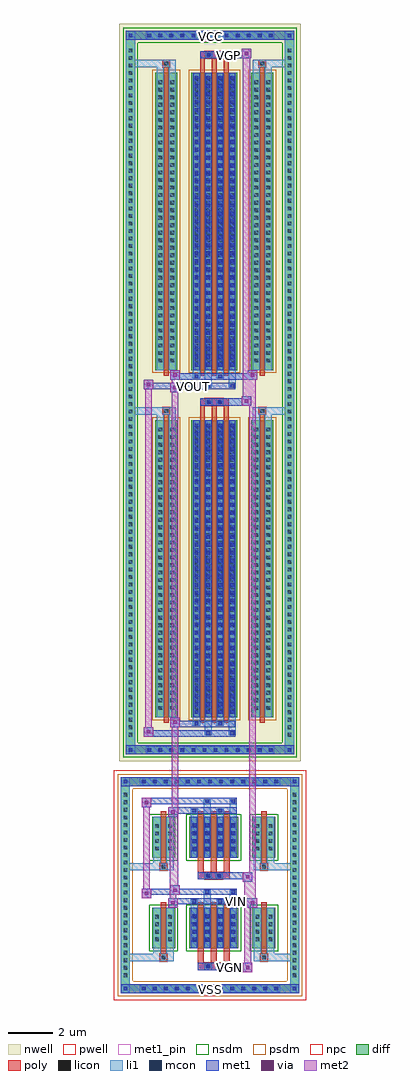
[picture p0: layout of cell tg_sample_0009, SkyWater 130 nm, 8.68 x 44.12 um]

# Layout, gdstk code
import gdstk
lib = gdstk.Library(unit=1e-6, precision=5e-09)
def R(c, l, rs):  # rectangles x0, y0, x1, y1
    for r in rs: c.add(gdstk.rectangle(r[:2], r[2:], *l))
def A(c, l, x, y, w, h, nx, ny, dx, dy):  # array of equal rectangles
    R(c, l, [(x+i*dx, y+j*dy, x+i*dx+w, y+j*dy+h) for i in range(nx) for j in range(ny)])
def P(c, l, *ps):  # polygons
    for p in ps: c.add(gdstk.Polygon(p, *l))
nwell = (64, 20)
pwell = (64, 44)
diff = (65, 20)
poly = (66, 20)
licon = (66, 44)
li1 = (67, 20)
mcon = (67, 44)
met1_pin = (68, 16)
met1 = (68, 20)
via = (68, 44)
met2 = (69, 20)
nsdm = (93, 44)
psdm = (94, 20)
npc = (95, 20)

tg_sample_0009 = lib.new_cell('tg_sample_0009')
R(tg_sample_0009, nwell, [(-4.11,5.595,4.11,38.925)])
R(tg_sample_0009, pwell, [(-4.34,-5.195,4.34,5.195)])
A(tg_sample_0009, diff, -3.205, -4.885, 0.41, 0.41, 13, 2, 0.5, 9.36)
A(tg_sample_0009, diff, -4.03, -4.285, 0.41, 0.41, 1, 25, 0, 0.34)
A(tg_sample_0009, diff, 3.62, -4.285, 0.41, 0.41, 1, 25, 0, 0.34)
A(tg_sample_0009, diff, -2.955, 5.905, 0.41, 0.41, 12, 2, 0.5, 32.3)
A(tg_sample_0009, diff, -3.8, 6.585, 0.41, 0.41, 1, 92, 0, 0.34)
A(tg_sample_0009, diff, 3.39, 6.585, 0.41, 0.41, 1, 92, 0, 0.34)
R(tg_sample_0009, diff, [(-3.205,-4.885,3.205,-4.475), (-4.03,-4.285,-3.62,4.285), (3.62,-4.285,4.03,4.285), (-2.62,-2.86,-1.58,-1.02), (-0.94,-2.86,1.28,-1.02), (1.92,-2.86,2.96,-1.02), (-2.62,1.24,-1.58,3.08), (-0.94,1.24,1.28,3.08), (1.92,1.24,2.96,3.08), (-3.205,4.475,3.205,4.885), (-2.955,5.905,2.955,6.315), (-3.8,6.585,-3.39,37.935), (3.39,6.585,3.8,37.935), (-2.47,7.58,-1.48,21.02), (-0.84,7.58,1.23,21.02), (1.87,7.58,2.86,21.02), (-2.47,23.28,-1.48,36.72), (-0.84,23.28,1.23,36.72), (1.87,23.28,2.86,36.72), (-2.955,38.205,2.955,38.615)])
P(tg_sample_0009, diff, [(4.03,4.885),(-4.03,4.885),(-4.03,-4.475),(-3.62,-4.475),(-3.62,4.475),(3.62,4.475),(3.62,-4.475),(-3.62,-4.475),(-4.03,-4.475),(-4.03,-4.885),(4.03,-4.885)],
  [(3.8,5.905),(-3.8,5.905),(-3.8,38.205),(-3.39,38.205),(-3.39,6.315),(3.39,6.315),(3.39,38.205),(-3.39,38.205),(-3.8,38.205),(-3.8,38.615),(3.8,38.615)])
A(tg_sample_0009, poly, -0.55, -3.51, 0.26, 0.4, 3, 2, 0.59, 4.1)
A(tg_sample_0009, poly, -0.55, -3.11, 0.26, 2.34, 3, 2, 0.59, 4.1)
A(tg_sample_0009, poly, -0.45, 7.33, 0.21, 13.94, 3, 2, 0.54, 15.7)
A(tg_sample_0009, poly, -0.45, 21.27, 0.21, 0.4, 3, 2, 0.54, 15.7)
R(tg_sample_0009, poly, [(-0.55,-3.84,0.89,-3.51), (-0.245,-3.84,0.085,-3.51), (0.255,-3.84,0.585,-3.51), (-2.265,-3.44,-1.935,-3.11), (-2.265,-3.44,-1.935,-3.11), (2.275,-3.44,2.605,-3.11), (2.275,-3.44,2.605,-3.11), (-2.23,-3.11,-1.97,-0.77), (2.31,-3.11,2.57,-0.77), (-0.55,0.26,0.89,0.59), (-0.245,0.26,0.085,0.59), (0.255,0.26,0.585,0.59), (-2.265,0.66,-1.935,0.99), (-2.265,0.66,-1.935,0.99), (2.275,0.66,2.605,0.99), (2.275,0.66,2.605,0.99), (-2.23,0.99,-1.97,3.33), (2.31,0.99,2.57,3.33), (-2.08,7.33,-1.87,21.27), (2.26,7.33,2.47,21.27), (-2.14,21.27,-1.81,21.6), (-2.14,21.27,-1.81,21.6), (2.2,21.27,2.53,21.6), (2.2,21.27,2.53,21.6), (-0.45,21.67,0.84,22), (-0.22,21.67,0.11,22), (0.28,21.67,0.61,22), (-2.08,23.03,-1.87,36.97), (2.26,23.03,2.47,36.97), (-2.14,36.97,-1.81,37.3), (-2.14,36.97,-1.81,37.3), (2.2,36.97,2.53,37.3), (2.2,36.97,2.53,37.3), (-0.45,37.37,0.84,37.7), (-0.22,37.37,0.11,37.7), (0.28,37.37,0.61,37.7)])
A(tg_sample_0009, licon, -3.085, -4.765, 0.17, 0.17, 13, 2, 0.5, 9.36)
A(tg_sample_0009, licon, -3.91, -4.165, 0.17, 0.17, 1, 25, 0, 0.34)
A(tg_sample_0009, licon, 3.74, -4.165, 0.17, 0.17, 1, 25, 0, 0.34)
A(tg_sample_0009, licon, -2.48, -2.535, 0.17, 0.17, 1, 4, 0, 0.34)
A(tg_sample_0009, licon, -1.89, -2.535, 0.17, 0.17, 1, 4, 0, 0.34)
A(tg_sample_0009, licon, -0.8, -2.535, 0.17, 0.17, 4, 4, 0.59, 0.34)
A(tg_sample_0009, licon, 2.06, -2.535, 0.17, 0.17, 1, 4, 0, 0.34)
A(tg_sample_0009, licon, 2.65, -2.535, 0.17, 0.17, 1, 4, 0, 0.34)
A(tg_sample_0009, licon, -2.48, 1.565, 0.17, 0.17, 1, 4, 0, 0.34)
A(tg_sample_0009, licon, -1.89, 1.565, 0.17, 0.17, 1, 4, 0, 0.34)
A(tg_sample_0009, licon, -0.8, 1.565, 0.17, 0.17, 4, 4, 0.59, 0.34)
A(tg_sample_0009, licon, 2.06, 1.565, 0.17, 0.17, 1, 4, 0, 0.34)
A(tg_sample_0009, licon, 2.65, 1.565, 0.17, 0.17, 1, 4, 0, 0.34)
A(tg_sample_0009, licon, -2.835, 6.025, 0.17, 0.17, 12, 2, 0.5, 32.3)
A(tg_sample_0009, licon, -3.68, 6.705, 0.17, 0.17, 1, 92, 0, 0.34)
A(tg_sample_0009, licon, 3.51, 6.705, 0.17, 0.17, 1, 92, 0, 0.34)
A(tg_sample_0009, licon, -2.33, 7.925, 0.17, 0.17, 1, 38, 0, 0.34)
A(tg_sample_0009, licon, -1.79, 7.925, 0.17, 0.17, 1, 38, 0, 0.34)
A(tg_sample_0009, licon, -0.7, 7.925, 0.17, 0.17, 4, 38, 0.54, 0.34)
A(tg_sample_0009, licon, 2.01, 7.925, 0.17, 0.17, 1, 38, 0, 0.34)
A(tg_sample_0009, licon, 2.55, 7.925, 0.17, 0.17, 1, 38, 0, 0.34)
A(tg_sample_0009, licon, -2.33, 23.625, 0.17, 0.17, 1, 38, 0, 0.34)
A(tg_sample_0009, licon, -1.79, 23.625, 0.17, 0.17, 1, 38, 0, 0.34)
A(tg_sample_0009, licon, -0.7, 23.625, 0.17, 0.17, 4, 38, 0.54, 0.34)
A(tg_sample_0009, licon, 2.01, 23.625, 0.17, 0.17, 1, 38, 0, 0.34)
A(tg_sample_0009, licon, 2.55, 23.625, 0.17, 0.17, 1, 38, 0, 0.34)
R(tg_sample_0009, licon, [(-0.165,-3.76,0.005,-3.59), (0.335,-3.76,0.505,-3.59), (-2.185,-3.36,-2.015,-3.19), (2.355,-3.36,2.525,-3.19), (-0.165,0.34,0.005,0.51), (0.335,0.34,0.505,0.51), (-2.185,0.74,-2.015,0.91), (2.355,0.74,2.525,0.91), (-2.06,21.35,-1.89,21.52), (2.28,21.35,2.45,21.52), (-0.14,21.75,0.03,21.92), (0.36,21.75,0.53,21.92), (-2.06,37.05,-1.89,37.22), (2.28,37.05,2.45,37.22), (-0.14,37.45,0.03,37.62), (0.36,37.45,0.53,37.62)])
A(tg_sample_0009, li1, -3.165, -4.845, 0.33, 0.33, 13, 2, 0.5, 9.36)
A(tg_sample_0009, li1, -3.99, -4.245, 0.33, 0.33, 1, 25, 0, 0.34)
A(tg_sample_0009, li1, 3.66, -4.245, 0.33, 0.33, 1, 25, 0, 0.34)
A(tg_sample_0009, li1, -0.88, -2.86, 0.33, 1.84, 4, 2, 0.59, 4.1)
A(tg_sample_0009, li1, -2.56, -2.615, 0.33, 0.33, 1, 4, 0, 0.34)
A(tg_sample_0009, li1, -1.97, -2.615, 0.33, 0.33, 1, 4, 0, 0.34)
A(tg_sample_0009, li1, -0.88, -2.615, 0.33, 0.33, 4, 4, 0.59, 0.34)
A(tg_sample_0009, li1, 1.98, -2.615, 0.33, 0.33, 1, 4, 0, 0.34)
A(tg_sample_0009, li1, 2.57, -2.615, 0.33, 0.33, 1, 4, 0, 0.34)
A(tg_sample_0009, li1, -0.8, -2.565, 0.17, 0.17, 4, 4, 0.59, 0.36)
A(tg_sample_0009, li1, -0.8, -2.565, 0.17, 1.25, 4, 2, 0.59, 4.1)
A(tg_sample_0009, li1, -2.56, 1.485, 0.33, 0.33, 1, 4, 0, 0.34)
A(tg_sample_0009, li1, -1.97, 1.485, 0.33, 0.33, 1, 4, 0, 0.34)
A(tg_sample_0009, li1, -0.88, 1.485, 0.33, 0.33, 4, 4, 0.59, 0.34)
A(tg_sample_0009, li1, 1.98, 1.485, 0.33, 0.33, 1, 4, 0, 0.34)
A(tg_sample_0009, li1, 2.57, 1.485, 0.33, 0.33, 1, 4, 0, 0.34)
A(tg_sample_0009, li1, -0.8, 1.535, 0.17, 0.17, 4, 4, 0.59, 0.36)
A(tg_sample_0009, li1, -2.915, 5.945, 0.33, 0.33, 12, 2, 0.5, 32.3)
A(tg_sample_0009, li1, -3.76, 6.625, 0.33, 0.33, 1, 92, 0, 0.34)
A(tg_sample_0009, li1, 3.43, 6.625, 0.33, 0.33, 1, 92, 0, 0.34)
A(tg_sample_0009, li1, -0.78, 7.58, 0.33, 13.44, 4, 2, 0.54, 15.7)
A(tg_sample_0009, li1, -0.7, 7.735, 0.17, 0.17, 4, 37, 0.54, 0.36)
A(tg_sample_0009, li1, -0.7, 7.735, 0.17, 13.13, 4, 2, 0.54, 15.7)
A(tg_sample_0009, li1, -2.41, 7.845, 0.33, 0.33, 1, 38, 0, 0.34)
A(tg_sample_0009, li1, -1.87, 7.845, 0.33, 0.33, 1, 38, 0, 0.34)
A(tg_sample_0009, li1, -0.78, 7.845, 0.33, 0.33, 4, 38, 0.54, 0.34)
A(tg_sample_0009, li1, 1.93, 7.845, 0.33, 0.33, 1, 38, 0, 0.34)
A(tg_sample_0009, li1, 2.47, 7.845, 0.33, 0.33, 1, 38, 0, 0.34)
A(tg_sample_0009, li1, -0.7, 23.435, 0.17, 0.17, 4, 37, 0.54, 0.36)
A(tg_sample_0009, li1, -2.41, 23.545, 0.33, 0.33, 1, 38, 0, 0.34)
A(tg_sample_0009, li1, -1.87, 23.545, 0.33, 0.33, 1, 38, 0, 0.34)
A(tg_sample_0009, li1, -0.78, 23.545, 0.33, 0.33, 4, 38, 0.54, 0.34)
A(tg_sample_0009, li1, 1.93, 23.545, 0.33, 0.33, 1, 38, 0, 0.34)
A(tg_sample_0009, li1, 2.47, 23.545, 0.33, 0.33, 1, 38, 0, 0.34)
R(tg_sample_0009, li1, [(-4.03,-4.885,-3.62,-4.475), (3.62,-4.885,4.03,-4.475), (-3.165,-4.845,3.165,-4.515), (-3.91,-4.765,-3.74,-4.595), (-3.91,-4.765,-3.74,-4.595), (3.74,-4.765,3.91,-4.595), (3.74,-4.765,3.91,-4.595), (-4.03,-4.475,-3.62,4.475), (3.62,-4.475,4.03,4.475), (-0.245,-3.84,0.085,-3.51), (0.255,-3.84,0.585,-3.51), (-4.03,-3.44,-2.265,-3.11), (-2.56,-3.44,-2.265,-3.11), (-2.56,-3.44,-2.23,-2.86), (-2.265,-3.44,-1.935,-3.11), (-1.97,-3.44,-1.64,-2.86), (-1.935,-3.44,-1.64,-3.11), (1.98,-3.44,2.275,-3.11), (1.98,-3.44,2.31,-2.86), (2.275,-3.44,2.605,-3.11), (2.275,-3.44,4.03,-3.11), (2.57,-3.44,2.9,-2.86), (2.605,-3.44,2.9,-3.11), (-2.56,-2.86,-2.23,-1.02), (-1.97,-2.86,-1.64,-1.02), (1.98,-2.86,2.31,-1.02), (2.57,-2.86,2.9,-1.02), (-0.88,-1.02,-0.55,-0.645), (-0.29,-1.02,0.04,-0.215), (0.3,-1.02,0.63,-0.645), (0.89,-1.02,1.22,-0.215), (-0.8,-0.815,-0.63,-0.645), (0.38,-0.815,0.55,-0.645), (-0.21,-0.385,-0.04,-0.215), (0.97,-0.385,1.14,-0.215), (-0.245,0.26,0.085,0.59), (0.255,0.26,0.585,0.59), (-4.03,0.66,-2.265,0.99), (-2.56,0.66,-2.265,0.99), (-2.56,0.66,-2.23,1.24), (-2.265,0.66,-1.935,0.99), (-1.97,0.66,-1.64,1.24), (-1.935,0.66,-1.64,0.99), (1.98,0.66,2.275,0.99), (1.98,0.66,2.31,1.24), (2.275,0.66,2.605,0.99), (2.275,0.66,4.03,0.99), (2.57,0.66,2.9,1.24), (2.605,0.66,2.9,0.99), (-2.56,1.24,-2.23,3.08), (-1.97,1.24,-1.64,3.08), (1.98,1.24,2.31,3.08), (2.57,1.24,2.9,3.08), (-0.88,3.08,-0.55,3.455), (-0.29,3.08,0.04,3.885), (0.3,3.08,0.63,3.455), (0.89,3.08,1.22,3.885), (-0.8,3.285,-0.63,3.455), (0.38,3.285,0.55,3.455), (-0.21,3.715,-0.04,3.885), (0.97,3.715,1.14,3.885), (-4.03,4.475,-3.62,4.885), (3.62,4.475,4.03,4.885), (-3.165,4.515,3.165,4.845), (-3.91,4.595,-3.74,4.765), (-3.91,4.595,-3.74,4.765), (3.74,4.595,3.91,4.765), (3.74,4.595,3.91,4.765), (-3.8,5.905,-3.39,6.315), (3.39,5.905,3.8,6.315), (-2.915,5.945,2.915,6.275), (-3.68,6.025,-3.51,6.195), (-3.68,6.025,-3.51,6.195), (3.51,6.025,3.68,6.195), (3.51,6.025,3.68,6.195), (-3.8,6.315,-3.39,38.205), (3.39,6.315,3.8,38.205), (-0.24,6.775,0.09,7.58), (-0.16,6.775,0.01,6.945), (0.84,6.775,1.17,7.58), (0.92,6.775,1.09,6.945), (-0.78,7.205,-0.45,7.58), (-0.7,7.205,-0.53,7.375), (0.3,7.205,0.63,7.58), (0.38,7.205,0.55,7.375), (-2.41,7.58,-2.08,21.02), (-1.87,7.58,-1.54,21.02), (1.93,7.58,2.26,21.02), (2.47,7.58,2.8,21.02), (-2.41,21.02,-2.08,21.6), (-1.87,21.02,-1.54,21.6), (1.93,21.02,2.26,21.6), (2.47,21.02,2.8,21.6), (-3.8,21.27,-2.14,21.6), (-2.41,21.27,-2.14,21.6), (-2.14,21.27,-1.81,21.6), (-1.81,21.27,-1.54,21.6), (1.93,21.27,2.2,21.6), (2.2,21.27,2.53,21.6), (2.2,21.27,3.8,21.6), (2.53,21.27,2.8,21.6), (-0.22,21.67,0.11,22), (0.28,21.67,0.61,22), (-0.24,22.475,0.09,23.28), (-0.16,22.475,0.01,22.645), (0.84,22.475,1.17,23.28), (0.92,22.475,1.09,22.645), (-0.78,22.905,-0.45,23.28), (-0.7,22.905,-0.53,23.075), (0.3,22.905,0.63,23.28), (0.38,22.905,0.55,23.075), (-2.41,23.28,-2.08,36.72), (-1.87,23.28,-1.54,36.72), (1.93,23.28,2.26,36.72), (2.47,23.28,2.8,36.72), (-2.41,36.72,-2.08,37.3), (-1.87,36.72,-1.54,37.3), (1.93,36.72,2.26,37.3), (2.47,36.72,2.8,37.3), (-3.8,36.97,-2.14,37.3), (-2.41,36.97,-2.14,37.3), (-2.14,36.97,-1.81,37.3), (-1.81,36.97,-1.54,37.3), (1.93,36.97,2.2,37.3), (2.2,36.97,2.53,37.3), (2.2,36.97,3.8,37.3), (2.53,36.97,2.8,37.3), (-0.22,37.37,0.11,37.7), (0.28,37.37,0.61,37.7), (-3.8,38.205,-3.39,38.615), (3.39,38.205,3.8,38.615), (-2.915,38.245,2.915,38.575), (-3.68,38.325,-3.51,38.495), (-3.68,38.325,-3.51,38.495), (3.51,38.325,3.68,38.495), (3.51,38.325,3.68,38.495)])
A(tg_sample_0009, mcon, -3.085, -4.765, 0.17, 0.17, 13, 2, 0.5, 9.36)
A(tg_sample_0009, mcon, -0.8, -2.565, 0.17, 0.17, 4, 4, 0.59, 0.36)
A(tg_sample_0009, mcon, -0.8, 1.535, 0.17, 0.17, 4, 4, 0.59, 0.36)
A(tg_sample_0009, mcon, -2.835, 6.025, 0.17, 0.17, 12, 2, 0.5, 32.3)
A(tg_sample_0009, mcon, -0.7, 7.735, 0.17, 0.17, 4, 37, 0.54, 0.36)
A(tg_sample_0009, mcon, -0.7, 23.435, 0.17, 0.17, 4, 37, 0.54, 0.36)
R(tg_sample_0009, mcon, [(-3.91,-4.765,-3.74,-4.595), (3.74,-4.765,3.91,-4.595), (-0.165,-3.76,0.005,-3.59), (0.335,-3.76,0.505,-3.59), (-0.8,-0.815,-0.63,-0.645), (0.38,-0.815,0.55,-0.645), (-0.21,-0.385,-0.04,-0.215), (0.97,-0.385,1.14,-0.215), (-0.165,0.34,0.005,0.51), (0.335,0.34,0.505,0.51), (-0.8,3.285,-0.63,3.455), (0.38,3.285,0.55,3.455), (-0.21,3.715,-0.04,3.885), (0.97,3.715,1.14,3.885), (-3.91,4.595,-3.74,4.765), (3.74,4.595,3.91,4.765), (-3.68,6.025,-3.51,6.195), (3.51,6.025,3.68,6.195), (-0.16,6.775,0.01,6.945), (0.92,6.775,1.09,6.945), (-0.7,7.205,-0.53,7.375), (0.38,7.205,0.55,7.375), (-0.14,21.75,0.03,21.92), (0.36,21.75,0.53,21.92), (-0.16,22.475,0.01,22.645), (0.92,22.475,1.09,22.645), (-0.7,22.905,-0.53,23.075), (0.38,22.905,0.55,23.075), (-0.14,37.45,0.03,37.62), (0.36,37.45,0.53,37.62), (-3.68,38.325,-3.51,38.495), (3.51,38.325,3.68,38.495)])
R(tg_sample_0009, met1_pin, [(-0.25,-4.975,0.25,-4.475), (0.755,-3.84,1.025,-3.57), (1.065,-0.875,1.335,-0.605), (-0.895,22.415,-0.625,22.685), (0.705,37.37,0.975,37.64), (-0.25,38.115,0.25,38.615)])
A(tg_sample_0009, met1, -3.145, -4.825, 0.29, 0.29, 13, 2, 0.5, 9.36)
A(tg_sample_0009, met1, -0.86, -2.86, 0.29, 1.84, 4, 2, 0.59, 4.1)
A(tg_sample_0009, met1, -0.86, -2.625, 0.29, 0.29, 4, 4, 0.59, 0.36)
A(tg_sample_0009, met1, -0.86, 1.475, 0.29, 0.29, 4, 4, 0.59, 0.36)
A(tg_sample_0009, met1, -2.895, 5.965, 0.29, 0.29, 12, 2, 0.5, 32.3)
A(tg_sample_0009, met1, -0.76, 7.58, 0.29, 13.44, 4, 2, 0.54, 15.7)
A(tg_sample_0009, met1, -0.76, 7.675, 0.29, 0.29, 4, 37, 0.54, 0.36)
A(tg_sample_0009, met1, -0.76, 23.375, 0.29, 0.29, 4, 37, 0.54, 0.36)
R(tg_sample_0009, met1, [(-4.03,-4.885,-3.62,-4.475), (-4.03,-4.885,-3.62,-4.475), (-3.62,-4.885,3.62,-4.475), (3.62,-4.885,4.03,-4.475), (3.62,-4.885,4.03,-4.475), (-3.97,-4.825,-3.68,-4.535), (3.68,-4.825,3.97,-4.535), (1.49,-3.94,1.92,-3.51), (-0.55,-3.84,0.89,-3.51), (0.89,-3.84,1.92,-3.51), (-0.225,-3.82,0.065,-3.53), (0.275,-3.82,0.565,-3.53), (-1.89,-1.015,-1.46,-0.585), (1.7,-1.015,2.13,-0.585), (-1.89,-0.875,-0.86,-0.585), (-0.86,-0.875,-0.57,-0.585), (-0.86,-0.875,1.2,-0.585), (0.32,-0.875,0.61,-0.585), (1.2,-0.875,2.13,-0.585), (-3.09,-0.585,-2.66,-0.155), (-3.09,-0.445,-0.86,-0.155), (-1.79,-0.445,-1.36,-0.015), (-1.79,-0.445,-0.86,-0.155), (-0.86,-0.445,1.2,-0.155), (-0.27,-0.445,0.02,-0.155), (0.91,-0.445,1.2,-0.155), (1.49,0.16,1.92,0.59), (-0.55,0.26,0.89,0.59), (0.89,0.26,1.92,0.59), (-0.225,0.28,0.065,0.57), (0.275,0.28,0.565,0.57), (-1.89,3.085,-1.46,3.515), (-1.89,3.225,-0.86,3.515), (-0.86,3.225,-0.57,3.515), (-0.86,3.225,1.2,3.515), (0.32,3.225,0.61,3.515), (-3.09,3.515,-2.66,3.945), (-3.09,3.655,-0.86,3.945), (-0.86,3.655,1.2,3.945), (-0.27,3.655,0.02,3.945), (0.91,3.655,1.2,3.945), (-4.03,4.475,-3.62,4.885), (-4.03,4.475,-3.62,4.885), (-3.62,4.475,3.62,4.885), (3.62,4.475,4.03,4.885), (3.62,4.475,4.03,4.885), (-3.97,4.535,-3.68,4.825), (3.68,4.535,3.97,4.825), (-3.8,5.905,-3.39,6.315), (-3.8,5.905,-3.39,6.315), (-3.39,5.905,3.39,6.315), (3.39,5.905,3.8,6.315), (3.39,5.905,3.8,6.315), (-3.74,5.965,-3.45,6.255), (3.45,5.965,3.74,6.255), (-2.99,6.715,-2.56,7.145), (-2.99,6.715,-0.76,7.005), (-0.76,6.715,1.15,7.005), (-0.22,6.715,0.07,7.005), (0.86,6.715,1.15,7.005), (-1.79,7.145,-1.36,7.575), (-1.79,7.145,-0.76,7.435), (-0.76,7.145,-0.47,7.435), (-0.76,7.145,1.15,7.435), (0.32,7.145,0.61,7.435), (-0.45,21.67,0.84,22), (0.84,21.67,1.87,22), (1.44,21.67,1.87,22.1), (-0.2,21.69,0.09,21.98), (0.3,21.69,0.59,21.98), (-1.79,22.275,-1.36,22.705), (-2.99,22.415,-2.56,22.845), (-2.99,22.415,-0.76,22.705), (-1.79,22.415,-0.76,22.705), (-0.76,22.415,1.15,22.705), (-0.22,22.415,0.07,22.705), (0.86,22.415,1.15,22.705), (-1.79,22.845,-1.36,23.275), (-1.79,22.845,-0.76,23.135), (-0.76,22.845,-0.47,23.135), (-0.76,22.845,1.15,23.135), (0.32,22.845,0.61,23.135), (1.15,22.845,2.13,23.135), (1.7,22.845,2.13,23.275), (-0.45,37.37,0.84,37.7), (0.84,37.37,1.87,37.7), (1.44,37.37,1.87,37.8), (-0.2,37.39,0.09,37.68), (0.3,37.39,0.59,37.68), (-3.8,38.205,-3.39,38.615), (-3.8,38.205,-3.39,38.615), (-3.39,38.205,3.39,38.615), (3.39,38.205,3.8,38.615), (3.39,38.205,3.8,38.615), (-3.74,38.265,-3.45,38.555), (3.45,38.265,3.74,38.555)])
R(tg_sample_0009, via, [(1.63,-3.8,1.78,-3.65), (-1.75,-0.875,-1.6,-0.725), (1.84,-0.875,1.99,-0.725), (-2.95,-0.445,-2.8,-0.295), (-1.65,-0.305,-1.5,-0.155), (1.63,0.3,1.78,0.45), (-1.75,3.225,-1.6,3.375), (-2.95,3.655,-2.8,3.805), (-2.85,6.855,-2.7,7.005), (-1.65,7.285,-1.5,7.435), (1.58,21.81,1.73,21.96), (-1.65,22.415,-1.5,22.565), (-2.85,22.555,-2.7,22.705), (-1.65,22.985,-1.5,23.135), (1.84,22.985,1.99,23.135), (1.58,37.51,1.73,37.66)])
R(tg_sample_0009, met2, [(1.49,-3.94,1.92,-3.51), (1.54,-3.94,1.87,0.59), (1.87,-3.94,1.92,-3.51), (1.54,-3.89,1.87,-3.56), (-1.89,-1.015,-1.46,-0.585), (-1.82,-1.015,-1.53,3.515), (-1.53,-1.015,-1.46,-0.585), (1.7,-1.015,2.13,-0.585), (1.77,-1.015,2.06,23.275), (2.06,-1.015,2.13,-0.585), (-1.84,-0.965,-1.51,-0.635), (1.75,-0.965,2.08,-0.635), (-3.09,-0.585,-2.66,-0.155), (-3.02,-0.585,-2.73,3.945), (-2.73,-0.585,-2.66,-0.155), (-3.04,-0.535,-2.71,-0.205), (-1.79,-0.445,-1.36,-0.015), (-1.72,-0.445,-1.43,22.705), (-1.43,-0.445,-1.36,-0.015), (-1.74,-0.395,-1.41,-0.065), (1.49,0.16,1.92,0.59), (1.87,0.16,1.92,0.59), (1.54,0.21,1.87,0.54), (-1.89,3.085,-1.46,3.515), (-1.53,3.085,-1.46,3.515), (-1.84,3.135,-1.51,3.465), (-3.09,3.515,-2.66,3.945), (-2.73,3.515,-2.66,3.945), (-3.04,3.565,-2.71,3.895), (-2.99,6.715,-2.56,7.145), (-2.92,6.715,-2.63,22.845), (-2.63,6.715,-2.56,7.145), (-2.94,6.765,-2.61,7.095), (-1.79,7.145,-1.36,7.575), (-1.72,7.145,-1.43,23.275), (-1.43,7.145,-1.36,7.575), (-1.74,7.195,-1.41,7.525), (1.44,21.67,1.87,22.1), (1.49,21.67,1.82,37.8), (1.82,21.67,1.87,22.1), (1.49,21.72,1.82,22.05), (-1.79,22.275,-1.36,22.705), (-1.43,22.275,-1.36,22.705), (-1.74,22.325,-1.41,22.655), (-2.99,22.415,-2.56,22.845), (-2.63,22.415,-2.56,22.845), (-2.94,22.465,-2.61,22.795), (-1.79,22.845,-1.36,23.275), (-1.43,22.845,-1.36,23.275), (1.7,22.845,2.13,23.275), (2.06,22.845,2.13,23.275), (-1.74,22.895,-1.41,23.225), (1.75,22.895,2.08,23.225), (1.44,37.37,1.87,37.8), (1.82,37.37,1.87,37.8), (1.49,37.42,1.82,37.75)])
R(tg_sample_0009, nsdm, [(-2.75,-2.99,-1.45,-0.89), (-1.07,-2.99,1.41,-0.89), (1.79,-2.99,3.09,-0.89), (-2.75,1.11,-1.45,3.21), (-1.07,1.11,1.41,3.21), (1.79,1.11,3.09,3.21)])
P(tg_sample_0009, nsdm, [(3.93,5.775),(-3.93,5.775),(-3.93,38.075),(-3.26,38.075),(-3.26,6.445),(3.26,6.445),(3.26,38.075),(-3.26,38.075),(-3.93,38.075),(-3.93,38.745),(3.93,38.745)])
R(tg_sample_0009, psdm, [(-2.6,7.45,-1.35,21.15), (-0.97,7.45,1.36,21.15), (1.74,7.45,2.99,21.15), (-2.6,23.15,-1.35,36.85), (-0.97,23.15,1.36,36.85), (1.74,23.15,2.99,36.85)])
P(tg_sample_0009, psdm, [(4.16,5.015),(-4.16,5.015),(-4.16,-4.345),(-3.49,-4.345),(-3.49,4.345),(3.49,4.345),(3.49,-4.345),(-3.49,-4.345),(-4.16,-4.345),(-4.16,-5.015),(4.16,-5.015)])
R(tg_sample_0009, npc, [(-0.265,-3.86,0.105,-3.49), (-0.265,-3.86,0.605,-3.49), (-0.265,-3.86,0.605,-3.49), (0.235,-3.86,0.605,-3.49), (-2.285,-3.46,-1.915,-3.09), (2.255,-3.46,2.625,-3.09), (-0.265,0.24,0.105,0.61), (-0.265,0.24,0.605,0.61), (-0.265,0.24,0.605,0.61), (0.235,0.24,0.605,0.61), (-2.285,0.64,-1.915,1.01), (2.255,0.64,2.625,1.01), (-2.16,21.25,-1.79,21.62), (2.18,21.25,2.55,21.62), (-0.24,21.65,0.13,22.02), (-0.24,21.65,0.63,22.02), (-0.24,21.65,0.63,22.02), (0.26,21.65,0.63,22.02), (-2.16,36.95,-1.79,37.32), (2.18,36.95,2.55,37.32), (-0.24,37.35,0.13,37.72), (-0.24,37.35,0.63,37.72), (-0.24,37.35,0.63,37.72), (0.26,37.35,0.63,37.72)])
tg_sample_0009.add(gdstk.Label('VIN', (1.2,-0.74), layer=68, texttype=5))
tg_sample_0009.add(gdstk.Label('VGN', (0.89,-3.705), layer=68, texttype=5))
tg_sample_0009.add(gdstk.Label('VGP', (0.84,37.505), layer=68, texttype=5))
tg_sample_0009.add(gdstk.Label('VSS', (0,-4.725), layer=68, texttype=5))
tg_sample_0009.add(gdstk.Label('VCC', (0,38.365), layer=68, texttype=5))
tg_sample_0009.add(gdstk.Label('VOUT', (-0.76,22.55), layer=68, texttype=5))

lib.write_gds('tg_sample_0009.gds')
